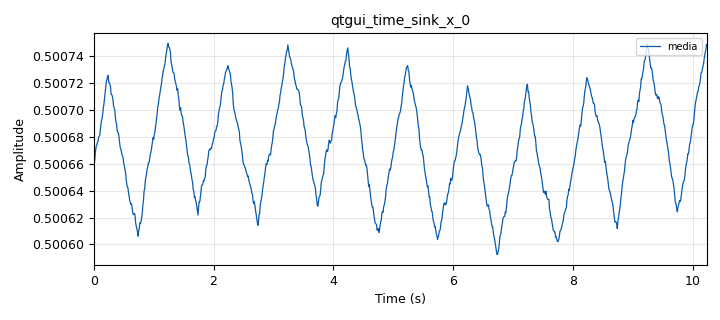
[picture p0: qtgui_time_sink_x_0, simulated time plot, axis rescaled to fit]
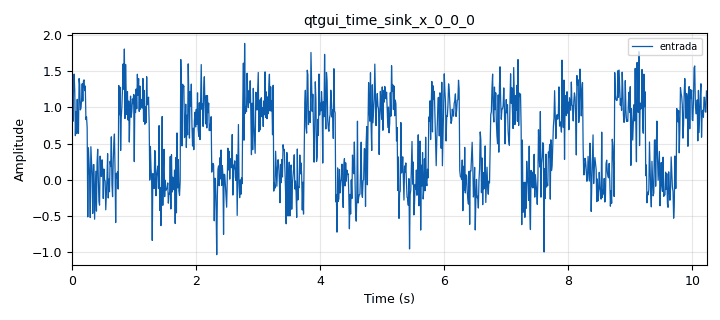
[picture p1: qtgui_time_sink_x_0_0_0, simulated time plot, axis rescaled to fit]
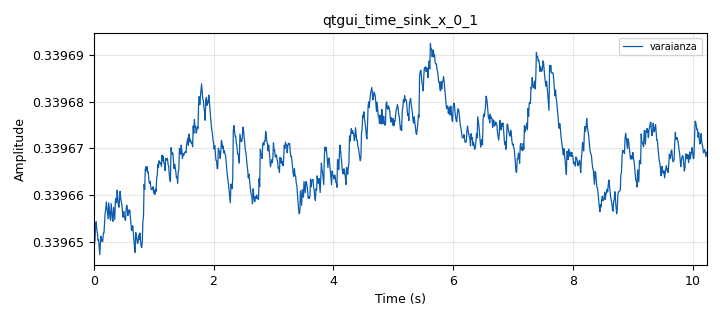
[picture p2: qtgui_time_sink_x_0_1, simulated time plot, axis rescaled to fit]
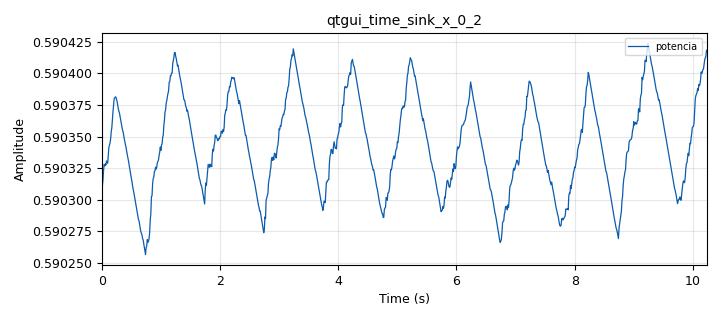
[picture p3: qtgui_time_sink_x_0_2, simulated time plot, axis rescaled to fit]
options:
  parameters:
    generate_options: qt_gui
    id: practica_1
    output_language: python
    title: Practica_1
  states: {}

blocks:
- name: samp_rate
  id: variable
  parameters:
    value: '100'
  states: {}
- name: analog_noise_source_x_0
  id: analog_noise_source_x
  parameters:
    amp: '0.3'
    noise_type: analog.GR_GAUSSIAN
    seed: '0'
    type: float
  states: {}
- name: analog_sig_source_x_0
  id: analog_sig_source_x
  parameters:
    amp: '1'
    freq: '1'
    offset: '0'
    phase: '0'
    samp_rate: samp_rate
    type: float
    waveform: analog.GR_SQR_WAVE
  states: {}
- name: blocks_add_xx_0
  id: blocks_add_xx
  parameters:
    type: float
  states: {}
- name: blocks_throttle2_0
  id: blocks_throttle2
  parameters:
    samples_per_second: samp_rate
    type: float
  states: {state: disabled}
- name: epy_block_0
  id: epy_block
  parameters:
    _source_code: |
      import numpy as np
      from gnuradio import gr

      class blk(gr.sync_block):
          def __init__(self):
              gr.sync_block.__init__(
                  self,
                  name='estadistico_total',
                  in_sig=[np.float32],
                  out_sig=[np.float32, np.float32, np.float32]  # media, varianza, potencia
              )

              self.N = 0
              self.sum_x = 0.0
              self.sum_x2 = 0.0

          def work(self, input_items, output_items):
              x = input_items[0]

              y_media = output_items[0]
              y_var = output_items[1]
              y_pow = output_items[2]

              for i in range(len(x)):
                  self.N += 1
                  self.sum_x += x[i]
                  self.sum_x2 += x[i]**2

                  media = self.sum_x / self.N
                  potencia = self.sum_x2 / self.N
                  varianza = potencia - media**2

                  y_media[i] = media
                  y_var[i] = varianza
                  y_pow[i] = potencia

              return len(x)
  states: {}
- name: epy_block_1
  id: epy_block
  parameters:
    _source_code: |
      import numpy as np
      from gnuradio import gr

      class blk(gr.sync_block):
          def __init__(self):
              gr.sync_block.__init__(
                  self,
                  name="Acumulador",
                  in_sig=[np.float32],
                  out_sig=[np.float32]
              )
              self.total = 0.0

          def work(self, input_items, output_items):
              x = input_items[0]
              y = output_items[0]

              for i in range(len(x)):
                  self.total += float(x[i])
                  y[i] = self.total

              return len(y)
  states: {state: disabled}
- name: epy_block_2
  id: epy_block
  parameters:
    _source_code: |
      import numpy as np
      from gnuradio import gr

      class blk(gr.sync_block):
          def __init__(self):
              gr.sync_block.__init__(
                  self,
                  name="Diferenciador",
                  in_sig=[np.float32],
                  out_sig=[np.float32]
              )
              self.prev = 0.0

          def work(self, input_items, output_items):
              x = input_items[0]
              y = output_items[0]

              if len(x) == 0:
                  return 0

              y[0] = float(x[0]) - self.prev

              for i in range(1, len(x)):
                  y[i] = float(x[i]) - float(x[i-1])

              self.prev = float(x[-1])

              return len(y)
  states: {state: disabled}
- name: qtgui_time_sink_x_0
  id: qtgui_time_sink_x
  parameters:
    label1: media
    size: '1024'
    srate: samp_rate
    type: float
  states: {}
- name: qtgui_time_sink_x_0_0
  id: qtgui_time_sink_x
  parameters:
    label1: entrada
    size: '1024'
    srate: samp_rate
    type: float
  states: {state: disabled}
- name: qtgui_time_sink_x_0_0_0
  id: qtgui_time_sink_x
  parameters:
    label1: entrada
    size: '1024'
    srate: samp_rate
    type: float
  states: {}
- name: qtgui_time_sink_x_0_1
  id: qtgui_time_sink_x
  parameters:
    label1: varaianza
    size: '1024'
    srate: samp_rate
    type: float
  states: {}
- name: qtgui_time_sink_x_0_2
  id: qtgui_time_sink_x
  parameters:
    label1: potencia
    size: '1024'
    srate: samp_rate
    type: float
  states: {}

connections:
- [analog_noise_source_x_0, '0', blocks_add_xx_0, '1']
- [analog_sig_source_x_0, '0', blocks_add_xx_0, '0']
- [analog_sig_source_x_0, '0', blocks_throttle2_0, '0']
- [analog_sig_source_x_0, '0', epy_block_1, '0']
- [analog_sig_source_x_0, '0', qtgui_time_sink_x_0_0, '0']
- [blocks_add_xx_0, '0', epy_block_0, '0']
- [blocks_add_xx_0, '0', qtgui_time_sink_x_0_0_0, '0']
- [blocks_throttle2_0, '0', epy_block_1, '0']
- [epy_block_0, '0', qtgui_time_sink_x_0, '0']
- [epy_block_0, '1', qtgui_time_sink_x_0_1, '0']
- [epy_block_0, '2', qtgui_time_sink_x_0_2, '0']
- [epy_block_1, '0', epy_block_2, '0']
- [epy_block_2, '0', qtgui_time_sink_x_0, '0']

metadata:
  file_format: 1
  grc_version: 3.10.9.2
